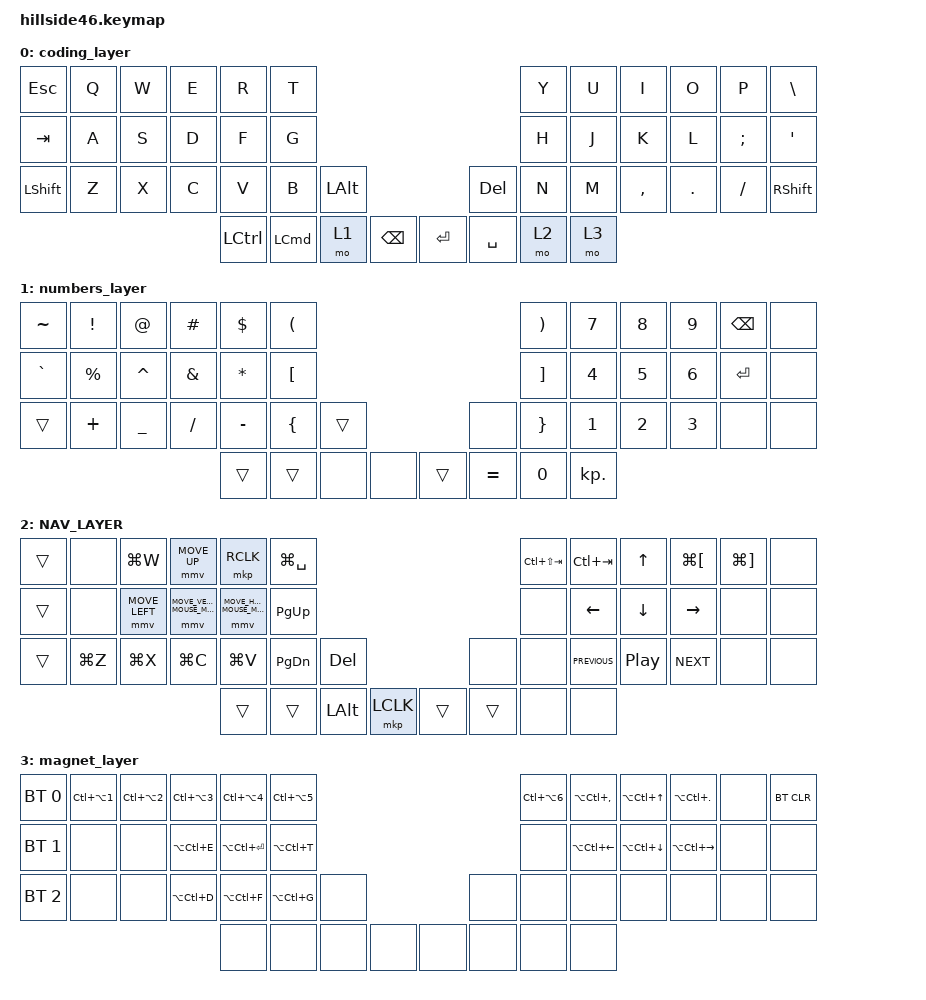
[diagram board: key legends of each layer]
/*
 * Copyright (c) 2021-2022 The ZMK Contributors
 *
 * SPDX-License-Identifier: MIT
 */

#include <behaviors.dtsi>
#include <dt-bindings/zmk/mouse.h>
#include <dt-bindings/zmk/bt.h>
#include <dt-bindings/zmk/keys.h>

#define QWERTY_L 0
#define DVORAK_L 1
#define COLEMK_L 2
#define NAV_L    3
#define SYM_L    4
#define ADJ_L    5
#define Undo   LC(Z)
#define Cut    LC(X)
#define Copy   LC(C)
#define Paste  LC(V)
#define Redo   LC(Y)
#define U_MOUSE_MOVE_MAX 1500

#undef MOVE_UP
#undef MOVE_DOWN
#undef MOVE_LEFT
#undef MOVE_RIGHT

#define MOVE_UP MOVE_VERT(-U_MOUSE_MOVE_MAX)
#define MOVE_DOWN MOVE_VERT(U_MOUSE_MOVE_MAX)
#define MOVE_LEFT MOVE_HOR(-U_MOUSE_MOVE_MAX)
#define MOVE_RIGHT MOVE_HOR(U_MOUSE_MOVE_MAX)

&mmv {
    time-to-max-speed-ms = <400>;
};

/ {
    keymap {
        compatible = "zmk,keymap";

        coding_layer {
            bindings = <
       &kp ESC  &kp Q  &kp W  &kp E      &kp R     &kp T                                                     &kp Y  &kp U      &kp I    &kp O      &kp P     &kp BACKSLASH
       &kp TAB  &kp A  &kp S  &kp D      &kp F     &kp G                                                     &kp H  &kp J      &kp K    &kp L   &kp SEMI  &kp SINGLE_QUOTE
&kp LEFT_SHIFT  &kp Z  &kp X  &kp C      &kp V     &kp B  &kp LEFT_ALT                              &kp DEL  &kp N  &kp M  &kp COMMA  &kp DOT  &kp SLASH   &kp RIGHT_SHIFT
                                     &kp LCTRL  &kp LCMD         &mo 1  &kp BACKSPACE  &kp ENTER  &kp SPACE  &mo 2  &mo 3
            >;
        };

        numbers_layer {
            bindings = <
&kp TILDE     &kp EXCL     &kp AT      &kp POUND  &kp DOLLAR  &kp LEFT_PARENTHESIS                                    &kp RIGHT_PARENTHESIS  &kp NUMBER_7  &kp NUMBER_8  &kp NUMBER_9  &kp BACKSPACE  &none
&kp GRAVE  &kp PERCENT  &kp CARET  &kp AMPERSAND    &kp STAR      &kp LEFT_BRACKET                                        &kp RIGHT_BRACKET  &kp NUMBER_4  &kp NUMBER_5  &kp NUMBER_6      &kp ENTER  &none
   &trans     &kp PLUS  &kp UNDER      &kp SLASH   &kp MINUS        &kp LEFT_BRACE  &trans                     &none        &kp RIGHT_BRACE  &kp NUMBER_1  &kp NUMBER_2  &kp NUMBER_3          &none  &none
                                                      &trans                &trans   &none  &none  &trans  &kp EQUAL           &kp NUMBER_0    &kp KP_DOT
            >;
        };

        NAV_LAYER {
            bindings = <
&trans      &none       &kp LG(W)    &mmv MOVE_UP        &mkp RCLK  &kp LG(SPACE)                                           &kp LC(LS(TAB))     &kp LC(TAB)    &kp UP  &kp LG(LEFT_BRACKET)  &kp LG(RIGHT_BRACKET)  &none
&trans      &none  &mmv MOVE_LEFT  &mmv MOVE_DOWN  &mmv MOVE_RIGHT      &kp PG_UP                                                     &none        &kp LEFT  &kp DOWN             &kp RIGHT                  &none  &none
&trans  &kp LG(Z)       &kp LG(X)       &kp LG(C)        &kp LG(V)      &kp PG_DN    &kp DELETE                      &none            &none  &kp C_PREVIOUS  &kp C_PP            &kp C_NEXT                  &none  &none
                                                            &trans         &trans  &kp LEFT_ALT  &mkp LCLK  &trans  &trans            &none           &none
            >;
        };

        magnet_layer {
            bindings = <
&bt BT_SEL 0  &kp LC(LA(N1))  &kp LC(LA(N2))  &kp LC(LA(N3))     &kp LC(LA(N4))  &kp LC(LA(N5))                              &kp LC(LA(N6))  &kp LA(LC(COMMA))    &kp LA(LC(UP))    &kp LA(LC(DOT))  &none  &bt BT_CLR
&bt BT_SEL 1           &none           &none   &kp LA(LC(E))  &kp LA(LC(ENTER))   &kp LA(LC(T))                                       &none   &kp LA(LC(LEFT))  &kp LA(LC(DOWN))  &kp LA(LC(RIGHT))  &none       &none
&bt BT_SEL 2           &none           &none   &kp LA(LC(D))      &kp LA(LC(F))   &kp LA(LC(G))  &none                &none           &none              &none             &none              &none  &none       &none
                                                                          &none           &none  &none  &none  &none  &none           &none              &none
            >;
        };
    };
};
